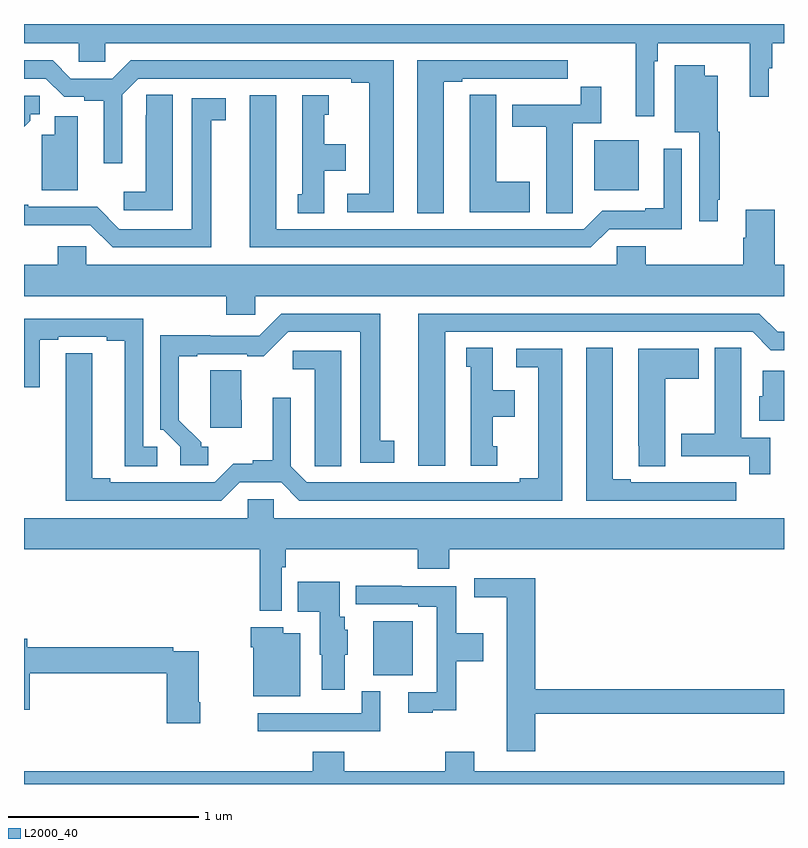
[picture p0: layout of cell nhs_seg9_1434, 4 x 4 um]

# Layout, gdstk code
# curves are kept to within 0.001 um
import gdstk
lib = gdstk.Library(unit=1e-6, precision=1e-09)
def R(c, l, rs):  # rectangles x0, y0, x1, y1
    for r in rs: c.add(gdstk.rectangle(r[:2], r[2:], *l))
def P(c, l, *ps):  # polygons
    for p in ps: c.add(gdstk.Polygon(p, *l))
L2000_40 = (2000, 40)

nhs_seg9_1434 = lib.new_cell('nhs_seg9_1434')
R(nhs_seg9_1434, L2000_40, [(192.839,1213.073,193.045,1213.357), (194,1215.626,194.236,1215.889)])
P(nhs_seg9_1434, L2000_40, [(194.316,1216.304),(194.336,1216.304),(194.336,1216.4),(194.821,1216.4),(194.821,1216.116),(194.92,1216.116),(194.92,1216.266),(194.939,1216.266),(194.939,1216.4),(195,1216.4),(195,1216.5),(191,1216.5),(191,1216.4),(191.289,1216.4),(191.289,1216.302),(191.427,1216.302),(191.427,1216.4),(194.219,1216.4),(194.219,1216.014),(194.316,1216.014)],
  [(193.21,1216.197),(193.306,1216.197),(193.306,1216.212),(193.582,1216.212),(193.582,1216.211),(193.748,1216.211),(193.748,1216.212),(193.861,1216.212),(193.861,1216.308),(193.07,1216.308),(193.07,1215.505),(193.21,1215.505)],
  [(192.946,1216.308),(191.561,1216.308),(191.465,1216.212),(191.247,1216.212),(191.151,1216.308),(191,1216.308),(191,1216.212),(191.115,1216.212),(191.211,1216.116),(191.316,1216.116),(191.316,1216.096),(191.42,1216.096),(191.42,1215.768),(191.517,1215.768),(191.517,1216.128),(191.601,1216.212),(192.722,1216.212),(192.722,1216.192),(192.818,1216.192),(192.818,1215.606),(192.702,1215.606),(192.702,1215.51),(192.946,1215.51)],
  [(194.65,1215.574),(194.662,1215.574),(194.662,1215.933),(194.65,1215.933),(194.65,1216.228),(194.584,1216.228),(194.584,1216.282),(194.426,1216.282),(194.426,1215.929),(194.553,1215.929),(194.553,1215.462),(194.65,1215.462)],
  [(193.887,1215.616),(193.888,1215.616),(193.888,1215.978),(194.039,1215.978),(194.039,1216.171),(193.93,1216.171),(193.93,1216.074),(193.571,1216.074),(193.571,1215.958),(193.748,1215.958),(193.748,1215.505),(193.887,1215.505)],
  [(191.782,1216.127),(191.643,1216.127),(191.643,1216.019),(191.642,1216.019),(191.642,1215.616),(191.526,1215.616),(191.526,1215.519),(191.782,1215.519)],
  [(193.663,1215.669),(193.486,1215.669),(193.486,1216.127),(193.347,1216.127),(193.347,1216.019),(193.346,1216.019),(193.346,1215.509),(193.663,1215.509)],
  [(194.079,1215.42),(194.463,1215.42),(194.463,1215.844),(194.366,1215.844),(194.366,1215.529),(194.27,1215.529),(194.27,1215.516),(194.043,1215.516),(193.947,1215.42),(192.328,1215.42),(192.328,1216.126),(192.188,1216.126),(192.188,1215.324),(193.983,1215.324)],
  [(192.58,1215.728),(192.694,1215.728),(192.694,1215.868),(192.58,1215.868),(192.58,1216.023),(192.604,1216.023),(192.604,1216.126),(192.464,1216.126),(192.464,1215.603),(192.44,1215.603),(192.44,1215.505),(192.58,1215.505)],
  [(191.032,1215.991),(191.032,1216.026),(191.082,1216.026),(191.082,1216.122),(191,1216.122),(191,1215.959)],
  [(191.986,1215.994),(192.061,1215.994),(192.061,1216.11),(191.882,1216.11),(191.882,1215.42),(191.502,1215.42),(191.385,1215.537),(191.023,1215.537),(191.023,1215.55),(191,1215.55),(191,1215.44),(191.349,1215.441),(191.466,1215.324),(191.986,1215.324)],
  [(191.284,1216.014),(191.162,1216.014),(191.162,1215.916),(191.093,1215.916),(191.093,1215.626),(191.284,1215.626)],
  [(192.216,1215.068),(195,1215.068),(195,1215.232),(194.951,1215.232),(194.951,1215.523),(194.798,1215.523),(194.798,1215.374),(194.786,1215.374),(194.786,1215.232),(194.273,1215.232),(194.273,1215.33),(194.121,1215.33),(194.121,1215.232),(191.328,1215.232),(191.328,1215.33),(191.177,1215.33),(191.177,1215.232),(191,1215.232),(191,1215.068),(192.065,1215.068),(192.065,1214.97),(192.216,1214.97)],
  [(191.971,1214.274),(191.932,1214.274),(191.932,1214.298),(191.815,1214.414),(191.815,1214.751),(191.911,1214.751),(191.911,1214.763),(192.176,1214.763),(192.176,1214.752),(192.262,1214.752),(192.39,1214.88),(192.77,1214.88),(192.77,1214.19),(192.949,1214.19),(192.949,1214.306),(192.874,1214.306),(192.874,1214.976),(192.354,1214.976),(192.237,1214.859),(191.981,1214.859),(191.981,1214.861),(191.718,1214.861),(191.718,1214.364),(191.733,1214.364),(191.823,1214.274),(191.823,1214.178),(191.971,1214.178)],
  [(193.216,1214.88),(194.835,1214.88),(194.931,1214.784),(195,1214.784),(195,1214.88),(194.967,1214.88),(194.871,1214.976),(193.076,1214.976),(193.076,1214.175),(193.216,1214.175)],
  [(191.701,1214.274),(191.628,1214.274),(191.628,1214.949),(191,1214.949),(191,1214.587),(191.083,1214.587),(191.083,1214.838),(191.179,1214.838),(191.179,1214.853),(191.435,1214.853),(191.435,1214.833),(191.531,1214.833),(191.531,1214.173),(191.701,1214.173)],
  [(194.927,1214.322),(194.776,1214.322),(194.776,1214.684),(194.775,1214.684),(194.775,1214.795),(194.636,1214.795),(194.636,1214.343),(194.459,1214.343),(194.459,1214.226),(194.818,1214.226),(194.818,1214.13),(194.927,1214.13)],
  [(193.492,1214.277),(193.468,1214.277),(193.468,1214.432),(193.582,1214.432),(193.582,1214.572),(193.468,1214.572),(193.468,1214.795),(193.328,1214.795),(193.328,1214.697),(193.352,1214.697),(193.352,1214.175),(193.492,1214.175)],
  [(194.749,1214.088),(194.636,1214.088),(194.636,1214.089),(194.47,1214.089),(194.47,1214.088),(194.194,1214.088),(194.194,1214.103),(194.098,1214.103),(194.098,1214.795),(193.958,1214.795),(193.958,1213.992),(194.749,1213.992)],
  [(194.374,1214.632),(194.551,1214.632),(194.551,1214.791),(194.234,1214.791),(194.234,1214.281),(194.235,1214.281),(194.235,1214.173),(194.374,1214.173)],
  [(192.135,1214.088),(192.353,1214.088),(192.449,1213.992),(193.834,1213.992),(193.834,1214.79),(193.59,1214.79),(193.59,1214.694),(193.706,1214.694),(193.706,1214.108),(193.61,1214.108),(193.61,1214.088),(192.489,1214.088),(192.405,1214.172),(192.405,1214.533),(192.308,1214.533),(192.308,1214.204),(192.204,1214.204),(192.204,1214.186),(192.101,1214.186),(192.003,1214.088),(191.455,1214.088),(191.455,1214.108),(191.359,1214.108),(191.359,1214.768),(191.22,1214.768),(191.219,1213.992),(192.039,1213.992)],
  [(192.67,1214.781),(192.414,1214.781),(192.414,1214.684),(192.53,1214.684),(192.53,1214.281),(192.531,1214.281),(192.531,1214.173),(192.67,1214.173)],
  [(192.145,1214.52),(192.144,1214.52),(192.144,1214.678),(191.981,1214.678),(191.981,1214.376),(192.145,1214.376)],
  [(195,1214.674),(194.888,1214.674),(194.888,1214.541),(194.87,1214.541),(194.87,1214.411),(195,1214.411)],
  [(192.357,1213.64),(192.377,1213.64),(192.377,1213.736),(193.073,1213.736),(193.073,1213.634),(193.238,1213.634),(193.238,1213.736),(195,1213.736),(195,1213.9),(192.315,1213.9),(192.315,1213.998),(192.177,1213.998),(192.177,1213.9),(191,1213.9),(191,1213.736),(192.241,1213.736),(192.241,1213.413),(192.357,1213.413)],
  [(193.691,1212.87),(195,1212.87),(195,1212.998),(193.691,1212.998),(193.691,1213.582),(193.371,1213.582),(193.371,1213.484),(193.541,1213.484),(193.541,1212.672),(193.691,1212.672)],
  [(192.688,1213.179),(192.703,1213.179),(192.703,1213.311),(192.688,1213.311),(192.688,1213.38),(192.661,1213.38),(192.661,1213.564),(192.442,1213.564),(192.442,1213.406),(192.557,1213.406),(192.557,1213.179),(192.566,1213.179),(192.566,1212.996),(192.688,1212.996)],
  [(193.151,1212.887),(193.274,1212.887),(193.274,1213.147),(193.417,1213.147),(193.417,1213.294),(193.274,1213.294),(193.274,1213.542),(192.989,1213.542),(192.989,1213.544),(192.747,1213.544),(192.747,1213.446),(193.076,1213.446),(193.076,1213.434),(193.173,1213.434),(193.173,1212.984),(193.023,1212.984),(193.023,1212.876),(193.151,1212.876)],
  [(192.454,1213.294),(192.364,1213.294),(192.364,1213.324),(192.194,1213.324),(192.194,1213.22),(192.206,1213.22),(192.206,1212.962),(192.454,1212.962)],
  [(191.928,1212.931),(191.92,1212.931),(191.92,1213.2),(191.786,1213.2),(191.786,1213.22),(191.017,1213.22),(191.017,1213.264),(191,1213.264),(191,1212.891),(191.03,1212.891),(191.03,1213.084),(191.75,1213.084),(191.75,1212.819),(191.928,1212.819)],
  [(192.874,1212.988),(192.777,1212.988),(192.777,1212.873),(192.231,1212.873),(192.231,1212.777),(192.874,1212.777)],
  [(195,1212.568),(193.369,1212.568),(193.369,1212.67),(193.217,1212.67),(193.217,1212.568),(192.686,1212.568),(192.686,1212.67),(192.521,1212.67),(192.521,1212.568),(191,1212.568),(191,1212.5),(195,1212.5)])

lib.write_gds('nhs_seg9_1434.gds')
